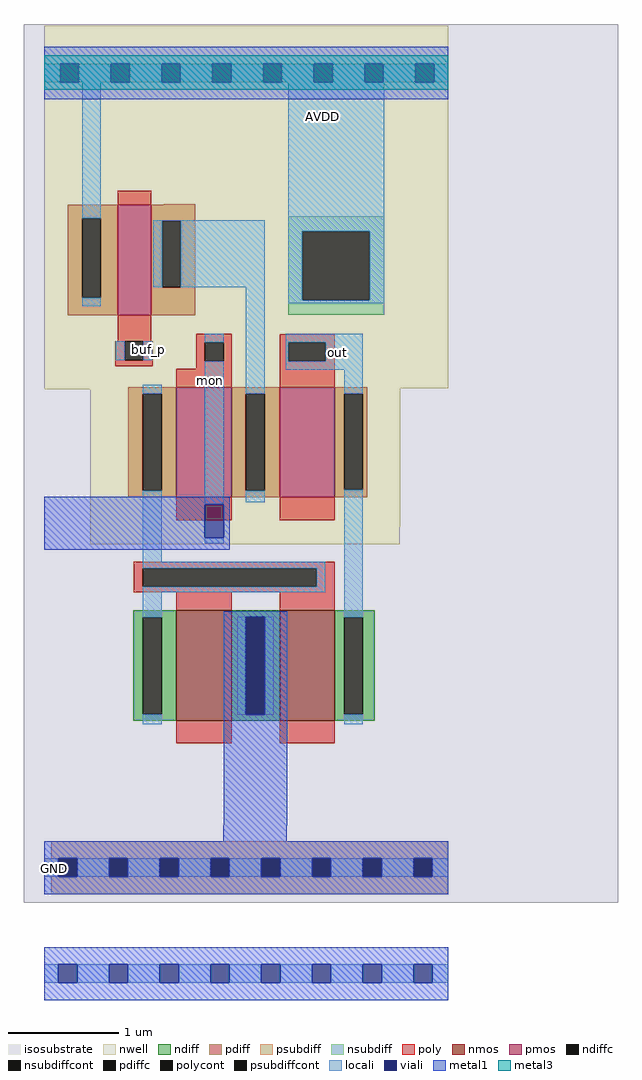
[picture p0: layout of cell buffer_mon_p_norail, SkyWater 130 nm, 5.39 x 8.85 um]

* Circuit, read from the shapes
.subckt buffer_mon_p_norail GND buf_p out mon AVDD
XM1 GND n1 n1 GND sky130_fd_pr__nfet_01v8 w=1 l=0.5
XM2 out n1 GND GND sky130_fd_pr__nfet_01v8 w=1 l=0.5
XM3 n2 buf_p AVDD AVDD sky130_fd_pr__pfet_01v8 w=1 l=0.3
XM4 n2 mon n1 AVDD sky130_fd_pr__pfet_01v8 w=1 l=0.5
XM5 out out n2 AVDD sky130_fd_pr__pfet_01v8 w=1 l=0.5
.ends

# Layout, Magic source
magic
tech sky130A
magscale 1 2
<< isosubstrate >>
rect 166 176 1244 1769
<< nwell >>
rect 203 1109 936 1766
rect 204 1107 849 1109
rect 287 858 849 1107
rect 287 826 848 858
<< nmos >>
rect 443 506 543 706
rect 630 506 730 706
<< pmos >>
rect 337 1241 397 1441
rect 443 911 543 1111
rect 630 911 730 1111
<< ndiff >>
rect 365 694 443 706
rect 365 518 382 694
rect 416 518 443 694
rect 365 506 443 518
rect 543 695 630 706
rect 543 518 569 695
rect 603 518 630 695
rect 543 506 630 518
rect 730 694 802 706
rect 730 518 747 694
rect 781 518 802 694
rect 730 506 802 518
<< pdiff >>
rect 420 1441 477 1442
rect 246 1417 337 1441
rect 246 1273 272 1417
rect 306 1273 337 1417
rect 246 1241 337 1273
rect 397 1412 477 1441
rect 397 1292 417 1412
rect 451 1292 477 1412
rect 397 1241 477 1292
rect 356 1099 443 1111
rect 356 923 382 1099
rect 416 923 443 1099
rect 356 911 443 923
rect 543 1099 630 1111
rect 543 923 569 1099
rect 603 923 630 1099
rect 543 911 630 923
rect 730 1099 789 1111
rect 730 925 747 1099
rect 781 925 789 1099
rect 730 911 789 925
<< ndiffc >>
rect 382 518 416 694
rect 569 518 603 695
rect 747 518 781 694
<< pdiffc >>
rect 272 1273 306 1417
rect 417 1292 451 1412
rect 382 923 416 1099
rect 569 923 603 1099
rect 747 925 781 1099
<< psubdiff >>
rect 216 257 936 288
rect 203 223 229 257
rect 263 223 321 257
rect 355 223 413 257
rect 447 223 505 257
rect 539 223 597 257
rect 631 223 689 257
rect 723 223 781 257
rect 815 223 873 257
rect 907 223 936 257
rect 216 192 936 223
<< nsubdiff >>
rect 646 1393 820 1421
rect 646 1268 671 1393
rect 793 1268 820 1393
rect 646 1242 820 1268
<< psubdiffcont >>
rect 229 223 263 257
rect 321 223 355 257
rect 413 223 447 257
rect 505 223 539 257
rect 597 223 631 257
rect 689 223 723 257
rect 781 223 815 257
rect 873 223 907 257
<< nsubdiffcont >>
rect 671 1268 793 1393
<< poly >>
rect 337 1441 397 1467
rect 337 1194 397 1241
rect 332 1160 349 1194
rect 383 1160 400 1194
rect 332 1149 400 1160
rect 479 1192 543 1208
rect 479 1158 494 1192
rect 529 1158 543 1192
rect 479 1144 543 1158
rect 443 1111 543 1144
rect 630 1192 730 1207
rect 630 1158 646 1192
rect 714 1158 730 1192
rect 630 1111 730 1158
rect 443 870 543 911
rect 630 870 730 911
rect 366 783 730 794
rect 366 749 382 783
rect 697 749 730 783
rect 366 739 730 749
rect 443 706 543 739
rect 630 706 730 739
rect 443 465 543 506
rect 630 465 730 506
<< polycont >>
rect 349 1160 383 1194
rect 494 1158 529 1192
rect 646 1158 714 1192
rect 382 749 697 783
<< locali >>
rect 203 1663 232 1697
rect 266 1663 324 1697
rect 358 1663 416 1697
rect 450 1663 508 1697
rect 542 1663 600 1697
rect 634 1663 692 1697
rect 726 1663 784 1697
rect 818 1663 876 1697
rect 910 1663 936 1697
rect 272 1417 306 1663
rect 401 1412 603 1413
rect 401 1292 417 1412
rect 451 1292 603 1412
rect 272 1257 306 1273
rect 333 1160 349 1194
rect 383 1160 399 1194
rect 494 1192 529 1208
rect 382 1099 416 1115
rect 382 794 416 923
rect 494 899 529 1158
rect 569 1099 603 1292
rect 646 1393 820 1663
rect 646 1268 671 1393
rect 793 1268 820 1393
rect 646 1263 820 1268
rect 641 1192 781 1208
rect 641 1158 646 1192
rect 714 1158 781 1192
rect 641 1142 781 1158
rect 569 902 603 923
rect 747 1099 781 1142
rect 494 828 529 838
rect 382 783 713 794
rect 697 749 713 783
rect 382 739 713 749
rect 382 694 416 739
rect 382 500 416 518
rect 553 517 569 695
rect 603 517 619 695
rect 747 694 781 925
rect 747 500 781 518
rect 203 223 229 257
rect 263 223 321 257
rect 355 223 413 257
rect 447 223 505 257
rect 539 223 597 257
rect 631 223 689 257
rect 723 223 781 257
rect 815 223 873 257
rect 907 223 936 257
rect 203 31 229 65
rect 263 31 321 65
rect 355 31 413 65
rect 447 31 505 65
rect 539 31 597 65
rect 631 31 689 65
rect 723 31 781 65
rect 815 31 873 65
rect 907 31 936 65
<< viali >>
rect 232 1663 266 1697
rect 324 1663 358 1697
rect 416 1663 450 1697
rect 508 1663 542 1697
rect 600 1663 634 1697
rect 692 1663 726 1697
rect 784 1663 818 1697
rect 876 1663 910 1697
rect 494 838 529 899
rect 569 518 603 695
rect 569 517 603 518
rect 229 223 263 257
rect 321 223 355 257
rect 413 223 447 257
rect 505 223 539 257
rect 597 223 631 257
rect 689 223 723 257
rect 781 223 815 257
rect 873 223 907 257
rect 229 31 263 65
rect 321 31 355 65
rect 413 31 447 65
rect 505 31 539 65
rect 597 31 631 65
rect 689 31 723 65
rect 781 31 815 65
rect 873 31 907 65
<< metal1 >>
rect 203 1697 936 1728
rect 203 1663 232 1697
rect 266 1663 324 1697
rect 358 1663 416 1697
rect 450 1663 508 1697
rect 542 1663 600 1697
rect 634 1663 692 1697
rect 726 1663 784 1697
rect 818 1663 876 1697
rect 910 1663 936 1697
rect 203 1633 936 1663
rect 203 899 540 912
rect 203 838 494 899
rect 529 838 540 899
rect 203 816 540 838
rect 529 695 644 705
rect 529 517 569 695
rect 603 517 644 695
rect 529 317 644 517
rect 528 288 643 317
rect 203 257 936 288
rect 203 223 229 257
rect 263 223 321 257
rect 355 223 413 257
rect 447 223 505 257
rect 539 223 597 257
rect 631 223 689 257
rect 723 223 781 257
rect 815 223 873 257
rect 907 223 936 257
rect 203 192 936 223
rect 203 65 936 96
rect 203 31 229 65
rect 263 31 321 65
rect 355 31 413 65
rect 447 31 505 65
rect 539 31 597 65
rect 631 31 689 65
rect 723 31 781 65
rect 815 31 873 65
rect 907 31 936 65
rect 203 0 936 31
<< metal3 >>
rect 203 1650 936 1712
<< labels >>
flabel metal1 218 235 227 243 1 FreeSans 320 0 0 0 GND
port 7 n
flabel locali 390 1170 394 1188 1 FreeSans 320 0 0 0 buf_p
port 9 n
flabel locali 733 1165 737 1183 1 FreeSans 320 0 0 0 out
port 10 n
flabel locali 497 1121 512 1126 1 FreeSans 320 0 0 0 mon
port 11 n
flabel locali 692 1596 722 1606 1 FreeSans 320 0 0 0 AVDD
port 12 n
<< end >>
